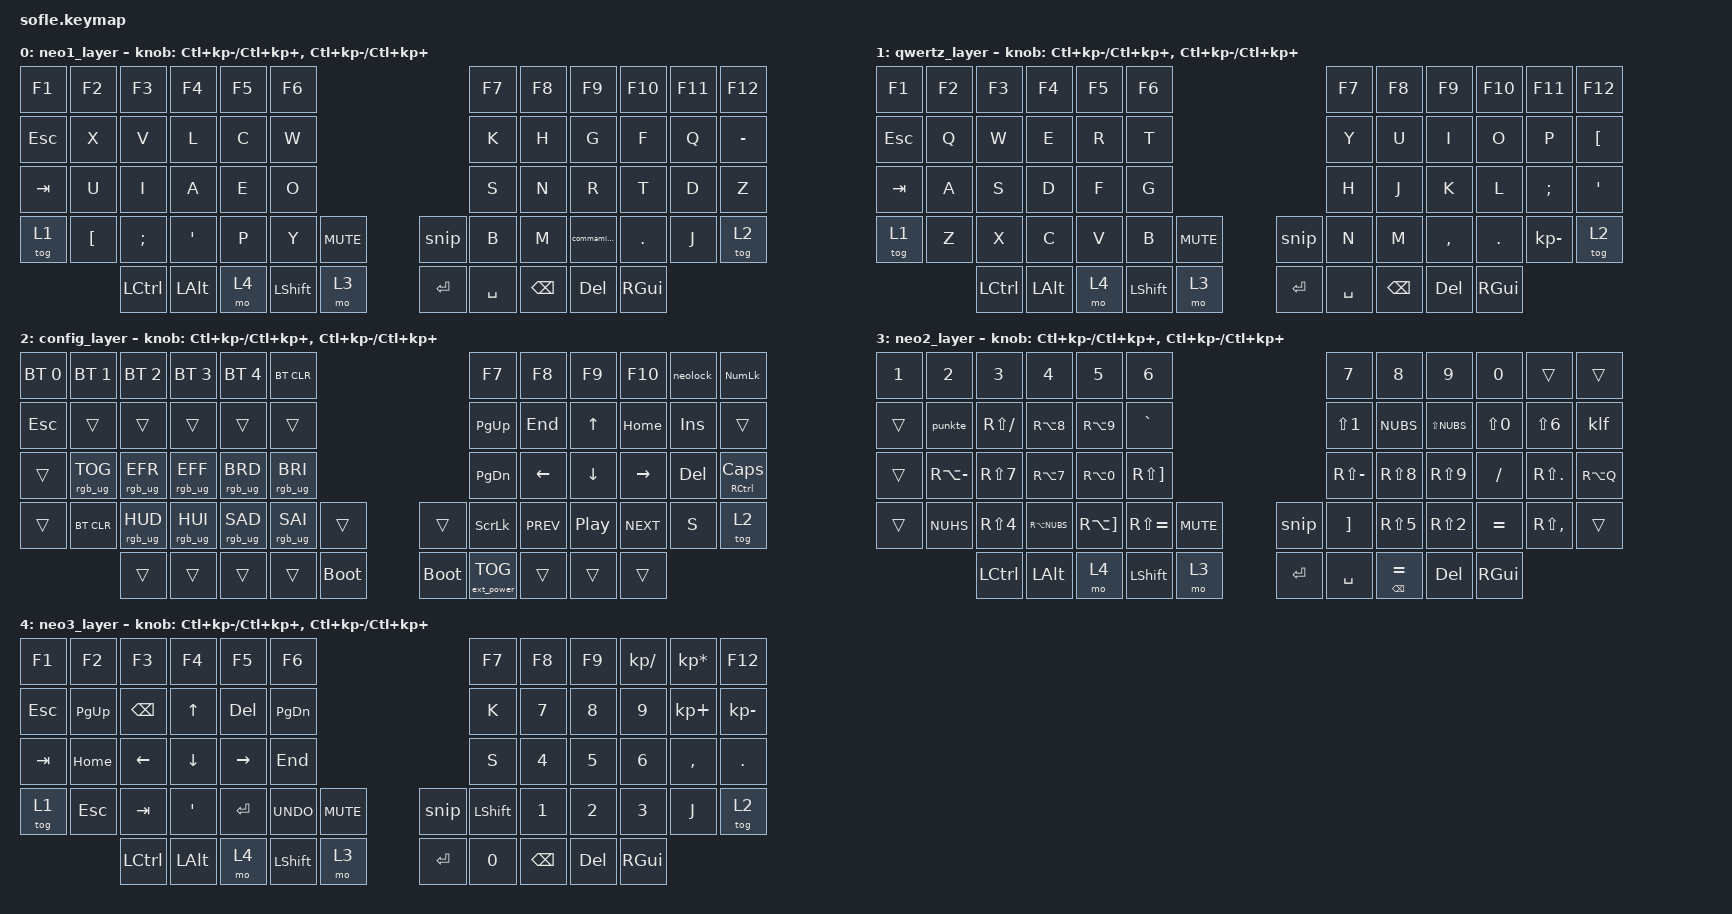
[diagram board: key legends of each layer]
/*
 * Copyright (c) 2020 The ZMK Contributors
 *
 * SPDX-License-Identifier: MIT
 */

#include <behaviors.dtsi>
#include <dt-bindings/zmk/keys.h>
#include <dt-bindings/zmk/bt.h>
#include <dt-bindings/zmk/rgb.h>
#include <dt-bindings/zmk/ext_power.h>

#define NEO1 0
#define QWERTZ 1
#define CONFIG 2
#define NEO2 3
#define NEO3 4

/ {
    keymap {
        compatible = "zmk,keymap";

        neo1_layer {
            bindings = <
  &kp F1    &kp F2     &kp F3    &kp F4  &kp F5      &kp F6                            &kp F7    &kp F8       &kp F9   &kp F10  &kp F11    &kp F12
 &kp ESC     &kp X      &kp V     &kp L   &kp C       &kp W                             &kp K     &kp H        &kp G     &kp F    &kp Q  &kp MINUS
 &kp TAB     &kp U      &kp I     &kp A   &kp E       &kp O                             &kp S     &kp N        &kp R     &kp T    &kp D      &kp Z
  &tog 1  &kp LBKT   &kp SEMI   &kp SQT   &kp P       &kp Y  &kp C_MUTE    &snip      &kp B     &kp M  &commaminus   &kp DOT    &kp J     &tog 2
                    &kp LCTRL  &kp LALT   &mo 4  &kp LSHIFT       &mo 3    &kp RET  &kp SPACE  &kp BSPC      &kp DEL  &kp RGUI
            >;

            sensor-bindings = <&inc_dec_kp LC(KP_MINUS) LC(KP_PLUS)  &inc_dec_kp LC(KP_MINUS) LC(KP_PLUS)>;
        };

        qwertz_layer {
            bindings = <
  &kp F1  &kp F2     &kp F3    &kp F4    &kp F5      &kp F6                            &kp F7    &kp F8     &kp F9   &kp F10       &kp F11   &kp F12
 &kp ESC   &kp Q      &kp W     &kp E     &kp R       &kp T                             &kp Y     &kp U      &kp I     &kp O         &kp P  &kp LBKT
 &kp TAB   &kp A      &kp S     &kp D     &kp F       &kp G                             &kp H     &kp J      &kp K     &kp L      &kp SEMI   &kp SQT
  &tog 1   &kp Z      &kp X     &kp C     &kp V       &kp B  &kp C_MUTE  &snip      &kp N     &kp M  &kp COMMA   &kp DOT  &kp KP_MINUS    &tog 2
                  &kp LCTRL  &kp LALT  &mo 4  &kp LSHIFT    &mo 3    &kp RET  &kp SPACE  &kp BSPC    &kp DEL  &kp RGUI
            >;

            sensor-bindings = <&inc_dec_kp LC(KP_MINUS) LC(KP_PLUS)  &inc_dec_kp LC(KP_MINUS) LC(KP_PLUS)>;        };

        config_layer {
            bindings = <
 &bt BT_SEL 0     &bt BT_SEL 1     &bt BT_SEL 2     &bt BT_SEL 3     &bt BT_SEL 4           &bt BT_CLR                                &kp F7      &kp F8    &kp F9     &kp F10    &neolock         &kp KP_NUMLOCK
   &kp ESC           &trans           &trans           &trans           &trans           &trans                                    &kp PG_UP     &kp END    &kp UP    &kp HOME    &kp INS          &trans
       &trans  &rgb_ug RGB_TOG  &rgb_ug RGB_EFR  &rgb_ug RGB_EFF  &rgb_ug RGB_BRD  &rgb_ug RGB_BRI                                    &kp PG_DN    &kp LEFT  &kp DOWN   &kp RIGHT    &kp DEL  &mt RCTRL CLCK
       &trans       &bt BT_CLR  &rgb_ug RGB_HUD  &rgb_ug RGB_HUI  &rgb_ug RGB_SAD  &rgb_ug RGB_SAI       &trans       &trans           &kp SLCK  &kp C_PREV  &kp C_PP  &kp C_NEXT  &kp S          &tog 2
                                         &trans           &trans           &trans           &trans  &bootloader  &bootloader  &ext_power EP_TOG      &trans    &trans      &trans
            >;

            sensor-bindings = <&inc_dec_kp LC(KP_MINUS) LC(KP_PLUS)  &inc_dec_kp LC(KP_MINUS) LC(KP_PLUS)>;
        };

        neo2_layer {
            bindings = <
 &kp N1         &kp N2         &kp N3        &kp N4        &kp N5         &kp N6                                &kp N7          &kp N8        &kp N9      &kp N0         &trans     &trans
 &trans        &punkte  &kp RS(SLASH)    &kp RA(N8)    &kp RA(N9)      &kp GRAVE                            &kp LS(N1)        &kp NUBS  &kp LS(NUBS)  &kp LS(N0)     &kp LS(N6)       &klf
 &trans  &kp RA(MINUS)     &kp RS(N7)    &kp RA(N7)    &kp RA(N0)   &kp RS(RBKT)                         &kp RS(MINUS)      &kp RS(N8)    &kp RS(N9)   &kp SLASH    &kp RS(DOT)  &kp RA(Q)
 &trans       &kp NUHS     &kp RS(N4)  &kp RA(NUBS)  &kp RA(RBKT)  &kp RS(EQUAL)  &kp C_MUTE  &snip       &kp RBKT      &kp RS(N5)    &kp RS(N2)   &kp EQUAL  &kp RS(COMMA)     &trans
                            &kp LCTRL      &kp LALT         &mo 4     &kp LSHIFT       &mo 3    &kp RET      &kp SPACE  &mt BSPC EQUAL       &kp DEL    &kp RGUI
            >;

            sensor-bindings = <&inc_dec_kp LC(KP_MINUS) LC(KP_PLUS)  &inc_dec_kp LC(KP_MINUS) LC(KP_PLUS)>;
        };

        neo3_layer {
            bindings = <
  &kp F1     &kp F2     &kp F3    &kp F4     &kp F5      &kp F6                             &kp F7     &kp F8     &kp F9  &kp KP_DIVIDE  &kp KP_MULTIPLY       &kp F12
 &kp ESC  &kp PG_UP   &kp BSPC    &kp UP    &kp DEL   &kp PG_DN                              &kp K  &kp N7  &kp N8      &kp N9      &kp KP_PLUS  &kp KP_MINUS
 &kp TAB   &kp HOME   &kp LEFT  &kp DOWN  &kp RIGHT     &kp END                              &kp S  &kp N4  &kp N5      &kp N6     &kp COMMA    &kp DOT
  &tog 1    &kp ESC    &kp TAB   &kp SQT  &kp ENTER  &kp K_UNDO  &kp C_MUTE  &snip  &kp LSHIFT  &kp N1  &kp N2      &kp N3            &kp J        &tog 2
                     &kp LCTRL  &kp LALT      &mo 4  &kp LSHIFT       &mo 3    &kp RET   &kp N0  &kp BSPC    &kp DEL       &kp RGUI
            >;

            sensor-bindings = <&inc_dec_kp LC(KP_MINUS) LC(KP_PLUS)  &inc_dec_kp LC(KP_MINUS) LC(KP_PLUS)>;
        };
    };
};

/ {
    behaviors {
        commaminus: comma_minus {
            compatible = "zmk,behavior-mod-morph";
            label = "COMMA_MINUS";
            #binding-cells = <0>;
            bindings =
                <&kp COMMA>,
                <&kp KP_MINUS>;

            mods = <(MOD_LSFT|MOD_RSFT)>;
        };
    };
};

/ {
    macros {
        punkte: punkte {
            label = "ZM_punkte";
            compatible = "zmk,behavior-macro";
            #binding-cells = <0>;
            bindings =
                <&macro_press>,
                <&kp LALT>,
                <&macro_tap>,
                <&kp KP_N0 &kp KP_N1 &kp KP_N3 &kp KP_N3>,
                <&macro_release>,
                <&kp LALT>;
        };
        klf: klf {
            label = "ZM_klf";
            compatible = "zmk,behavior-macro";
            #binding-cells = <0>;
            bindings =
                <&macro_press>,
                <&kp LALT>,
                <&macro_tap>,
                <&kp KP_N0 &kp KP_N1 &kp KP_N3 &kp KP_N1>,
                <&macro_release>,
                <&kp LALT>;
        };
        snip: snip {
            label = "ZM_snip";
            compatible = "zmk,behavior-macro";
            #binding-cells = <0>;
            bindings =
              <&macro_press &kp LGUI &kp LSHFT>
			, <&macro_tap &kp S>
			, <&macro_release &kp LGUI &kp LSHFT>;
        };
        neolock: neolock {
            label = "ZM_neolock";
            compatible = "zmk,behavior-macro";
            #binding-cells = <0>;
            bindings =
              <&macro_press &kp LSHIFT &kp CAPS>
			, <&macro_tap &kp TAB>
			, <&macro_release &kp LSHIFT &kp CAPS>;
        };
    };
};
